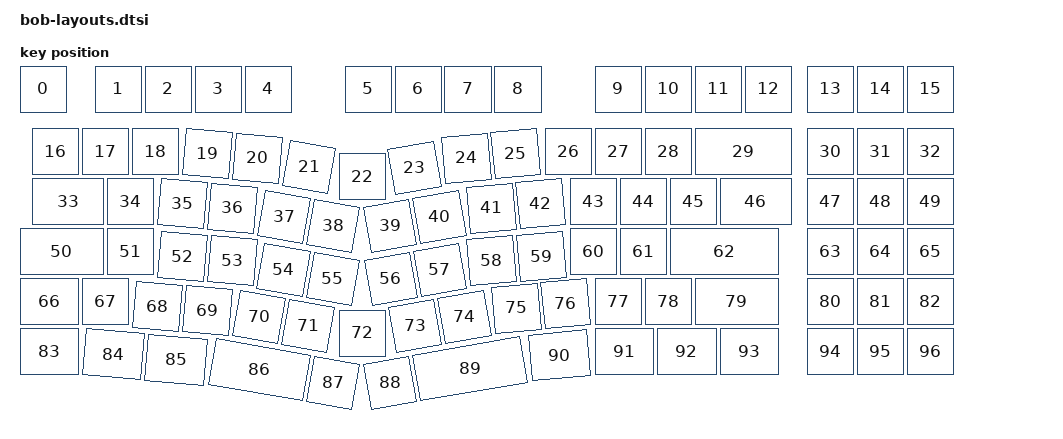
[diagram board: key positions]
#include <physical_layouts.dtsi>

/ {
    physical_layout0: physical_layout_0 {
        compatible = "zmk,physical-layout";
        display-name = "Bob";

        kscan = <&kscan0>;
        transform = <&matrix_transform0>;

        keys  //                     w   h    x    y     rot    rx    ry
            = <&key_physical_attrs 100 100    0    0       0     0     0>
            , <&key_physical_attrs 100 100  150    0       0     0     0>
            , <&key_physical_attrs 100 100  250    0       0     0     0>
            , <&key_physical_attrs 100 100  350    0       0     0     0>
            , <&key_physical_attrs 100 100  450    0       0     0     0>
            , <&key_physical_attrs 100 100  650    0       0     0     0>
            , <&key_physical_attrs 100 100  750    0       0     0     0>
            , <&key_physical_attrs 100 100  850    0       0     0     0>
            , <&key_physical_attrs 100 100  950    0       0     0     0>
            , <&key_physical_attrs 100 100 1150    0       0     0     0>
            , <&key_physical_attrs 100 100 1250    0       0     0     0>
            , <&key_physical_attrs 100 100 1350    0       0     0     0>
            , <&key_physical_attrs 100 100 1450    0       0     0     0>
            , <&key_physical_attrs 100 100 1575    0       0     0     0>
            , <&key_physical_attrs 100 100 1675    0       0     0     0>
            , <&key_physical_attrs 100 100 1775    0       0     0     0>
            , <&key_physical_attrs 100 100   25  125       0     0     0>
            , <&key_physical_attrs 100 100  125  125       0     0     0>
            , <&key_physical_attrs 100 100  225  125       0     0     0>
            , <&key_physical_attrs 100 100  325  125     500   325   225>
            , <&key_physical_attrs 100 100  425  125     500   325   225>
            , <&key_physical_attrs 100 100  525  112    1000   325   225>
            , <&key_physical_attrs 100 100  638  175       0     0     0>
            , <&key_physical_attrs 100 100  750  113 (-1000)  1050   225>
            , <&key_physical_attrs 100 100  850  125  (-500)  1050   225>
            , <&key_physical_attrs 100 100  950  125  (-500)  1050   225>
            , <&key_physical_attrs 100 100 1050  125       0     0     0>
            , <&key_physical_attrs 100 100 1150  125       0     0     0>
            , <&key_physical_attrs 100 100 1250  125       0     0     0>
            , <&key_physical_attrs 200 100 1350  125       0     0     0>
            , <&key_physical_attrs 100 100 1575  125       0     0     0>
            , <&key_physical_attrs 100 100 1675  125       0     0     0>
            , <&key_physical_attrs 100 100 1775  125       0     0     0>
            , <&key_physical_attrs 150 100   25  225       0     0     0>
            , <&key_physical_attrs 100 100  175  225       0     0     0>
            , <&key_physical_attrs 100 100  275  225     500   275   325>
            , <&key_physical_attrs 100 100  375  225     500   275   325>
            , <&key_physical_attrs 100 100  475  212    1000   275   325>
            , <&key_physical_attrs 100 100  575  212    1000   275   325>
            , <&key_physical_attrs 100 100  700  212 (-1000)  1100   325>
            , <&key_physical_attrs 100 100  800  212 (-1000)  1100   325>
            , <&key_physical_attrs 100 100  900  225  (-500)  1100   325>
            , <&key_physical_attrs 100 100 1000  225  (-500)  1100   325>
            , <&key_physical_attrs 100 100 1100  225       0     0     0>
            , <&key_physical_attrs 100 100 1200  225       0     0     0>
            , <&key_physical_attrs 100 100 1300  225       0     0     0>
            , <&key_physical_attrs 150 100 1400  225       0     0     0>
            , <&key_physical_attrs 100 100 1575  225       0     0     0>
            , <&key_physical_attrs 100 100 1675  225       0     0     0>
            , <&key_physical_attrs 100 100 1775  225       0     0     0>
            , <&key_physical_attrs 175 100    0  325       0     0     0>
            , <&key_physical_attrs 100 100  175  325       0     0     0>
            , <&key_physical_attrs 100 100  275  330     500   275   425>
            , <&key_physical_attrs 100 100  375  330     500   275   425>
            , <&key_physical_attrs 100 100  475  318    1000   275   425>
            , <&key_physical_attrs 100 100  575  318    1000   275   425>
            , <&key_physical_attrs 100 100  700  318 (-1000)  1100   425>
            , <&key_physical_attrs 100 100  800  318 (-1000)  1100   425>
            , <&key_physical_attrs 100 100  900  330  (-500)  1100   425>
            , <&key_physical_attrs 100 100 1000  330  (-500)  1100   425>
            , <&key_physical_attrs 100 100 1100  325       0     0     0>
            , <&key_physical_attrs 100 100 1200  325       0     0     0>
            , <&key_physical_attrs 225 100 1300  325       0     0     0>
            , <&key_physical_attrs 100 100 1575  325       0     0     0>
            , <&key_physical_attrs 100 100 1675  325       0     0     0>
            , <&key_physical_attrs 100 100 1775  325       0     0     0>
            , <&key_physical_attrs 125 100    0  425       0     0     0>
            , <&key_physical_attrs 100 100  125  425       0     0     0>
            , <&key_physical_attrs 100 100  225  430     500   225   525>
            , <&key_physical_attrs 100 100  325  430     500   225   525>
            , <&key_physical_attrs 100 100  425  412    1000   225   525>
            , <&key_physical_attrs 100 100  525  412    1000   225   525>
            , <&key_physical_attrs 100 100  638  488       0     0     0>
            , <&key_physical_attrs 100 100  750  412 (-1000)  1150   525>
            , <&key_physical_attrs 100 100  850  412 (-1000)  1150   525>
            , <&key_physical_attrs 100 100  950  425  (-500)  1150   525>
            , <&key_physical_attrs 100 100 1050  425  (-500)  1150   525>
            , <&key_physical_attrs 100 100 1150  425       0     0     0>
            , <&key_physical_attrs 100 100 1250  425       0     0     0>
            , <&key_physical_attrs 175 100 1350  425       0     0     0>
            , <&key_physical_attrs 100 100 1575  425       0     0     0>
            , <&key_physical_attrs 100 100 1675  425       0     0     0>
            , <&key_physical_attrs 100 100 1775  425       0     0     0>
            , <&key_physical_attrs 125 100    0  525       0     0     0>
            , <&key_physical_attrs 125 100  125  525     500   125   625>
            , <&key_physical_attrs 125 100  250  525     500   125   625>
            , <&key_physical_attrs 200 100  375  500    1000   125   625>
            , <&key_physical_attrs 100 100  575  500    1000   125   625>
            , <&key_physical_attrs 100 100  700  500 (-1000)  1250   625>
            , <&key_physical_attrs 225 100  800  500 (-1000)  1250   625>
            , <&key_physical_attrs 125 100 1025  525  (-500)  1175   625>
            , <&key_physical_attrs 125 100 1150  525       0     0     0>
            , <&key_physical_attrs 125 100 1275  525       0     0     0>
            , <&key_physical_attrs 125 100 1400  525       0     0     0>
            , <&key_physical_attrs 100 100 1575  525       0     0     0>
            , <&key_physical_attrs 100 100 1675  525       0     0     0>
            , <&key_physical_attrs 100 100 1775  525       0     0     0>
            ;
    };
};
